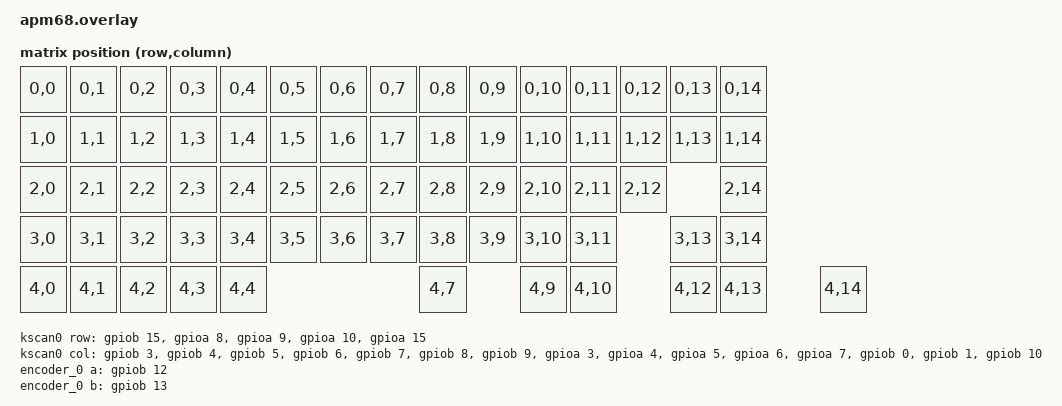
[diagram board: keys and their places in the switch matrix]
#include <dt-bindings/zmk/matrix_transform.h>
#include <dt-bindings/led/led.h>
#include <dt-bindings/gpio/gpio.h>
#include "apm68-layouts.dtsi"

/ {
    chosen {
        zmk,kscan = &kscan0;
        zmk,physical-layout = &apm68_layout;
        zmk,underglow = &ws2812_0;
    };

    kscan0: kscan {
        compatible = "zmk,kscan-gpio-matrix";
        diode-direction = "col2row";

        row-gpios
            = <&gpiob 15 (GPIO_ACTIVE_HIGH | GPIO_PULL_DOWN)>
            , <&gpioa  8 (GPIO_ACTIVE_HIGH | GPIO_PULL_DOWN)>
            , <&gpioa  9 (GPIO_ACTIVE_HIGH | GPIO_PULL_DOWN)>
            , <&gpioa 10 (GPIO_ACTIVE_HIGH | GPIO_PULL_DOWN)>
            , <&gpioa 15 (GPIO_ACTIVE_HIGH | GPIO_PULL_DOWN)>
            ;

        col-gpios
            = <&gpiob  3 GPIO_ACTIVE_HIGH>
            , <&gpiob  4 GPIO_ACTIVE_HIGH>
            , <&gpiob  5 GPIO_ACTIVE_HIGH>
            , <&gpiob  6 GPIO_ACTIVE_HIGH>
            , <&gpiob  7 GPIO_ACTIVE_HIGH>
            , <&gpiob  8 GPIO_ACTIVE_HIGH>
            , <&gpiob  9 GPIO_ACTIVE_HIGH>
            , <&gpioa  3 GPIO_ACTIVE_HIGH>
            , <&gpioa  4 GPIO_ACTIVE_HIGH>
            , <&gpioa  5 GPIO_ACTIVE_HIGH>
            , <&gpioa  6 GPIO_ACTIVE_HIGH>
            , <&gpioa  7 GPIO_ACTIVE_HIGH>
            , <&gpiob  0 GPIO_ACTIVE_HIGH>
            , <&gpiob  1 GPIO_ACTIVE_HIGH>
            , <&gpiob 10 GPIO_ACTIVE_HIGH>
            ;
    };

    default_transform: keymap_transform_0 {
        compatible = "zmk,matrix-transform";
        rows = <5>;
        columns = <15>;
        map = <
            RC(0,0) RC(0,1) RC(0,2) RC(0,3) RC(0,4) RC(0,5) RC(0,6) RC(0,7) RC(0,8) RC(0,9) RC(0,10) RC(0,11) RC(0,12) RC(0,13) RC(0,14)
            RC(1,0) RC(1,1) RC(1,2) RC(1,3) RC(1,4) RC(1,5) RC(1,6) RC(1,7) RC(1,8) RC(1,9) RC(1,10) RC(1,11) RC(1,12) RC(1,13) RC(1,14)
            RC(2,0) RC(2,1) RC(2,2) RC(2,3) RC(2,4) RC(2,5) RC(2,6) RC(2,7) RC(2,8) RC(2,9) RC(2,10) RC(2,11) RC(2,12)          RC(2,14)
            RC(3,0) RC(3,1) RC(3,2) RC(3,3) RC(3,4) RC(3,5) RC(3,6) RC(3,7) RC(3,8) RC(3,9) RC(3,10) RC(3,11)          RC(3,13) RC(3,14)
            RC(4,0) RC(4,1) RC(4,2) RC(4,3) RC(4,4)                            RC(4,7)          RC(4,9) RC(4,10)          RC(4,12) RC(4,13) RC(4,14)
        >;
    };

    encoder_0: encoder_0 {
        compatible = "alps,ec11";
        a-gpios = <&gpiob 12 (GPIO_ACTIVE_LOW | GPIO_PULL_UP)>;
        b-gpios = <&gpiob 13 (GPIO_ACTIVE_LOW | GPIO_PULL_UP)>;
        resolution = <4>;
        status = "okay";
    };

    ws2812_0: ws2812_0 {
        compatible = "worldsemi,ws2812-stm32";
        gpios = <&gpiob 14 GPIO_ACTIVE_HIGH>;
        chain-length = <68>;
        color-mapping = <LED_COLOR_ID_GREEN LED_COLOR_ID_RED LED_COLOR_ID_BLUE>;
        reset-delay = <50>;
    };

    sensors: sensors {
        compatible = "zmk,keymap-sensors";
        sensors = <&encoder_0>;
        triggers-per-rotation = <20>;
    };
};
